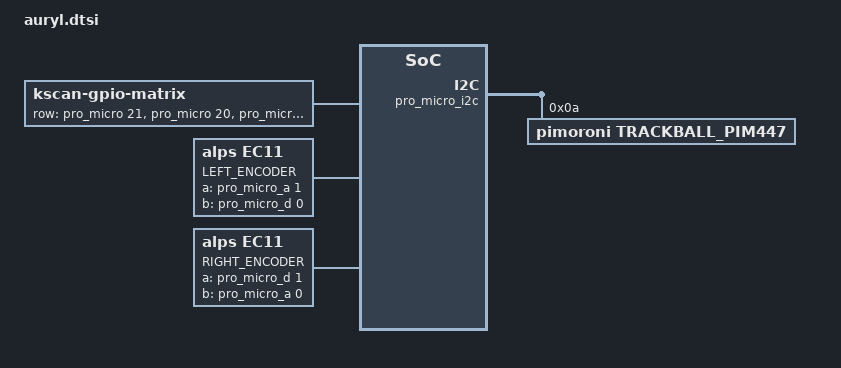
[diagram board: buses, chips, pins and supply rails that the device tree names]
#include <dt-bindings/zmk/matrix_transform.h>

/ {
    chosen {
        zmk,kscan = &kscan0;
        zmk,matrix_transform = &default_transform;
    };

    default_transform: keymap_transform_0 {
        compatible = "zmk,matrix-transform";
        columns = <1>;
        rows = <1>;
// | SW6  | SW5  | SW4  | SW3  | SW2  | SW1  |                 | SW1  | SW2  | SW3  | SW4  | SW5  | SW6  |
// | SW12 | SW11 | SW10 | SW9  | SW8  | SW7  |                 | SW7  | SW8  | SW9  | SW10 | SW11 | SW12 |
// | SW18 | SW17 | SW16 | SW15 | SW14 | SW13 |                 | SW13 | SW14 | SW15 | SW16 | SW17 | SW18 |
//               | SW22 | SW21 |                                             | SW21 | SW22 |
//                             | SW20 | SW19 | SW23 |   | SW23 | SW19 | SW20 | 
//                             | SW26 | SW25 | SW24 |    (PIM) | SW25 | SW26 |
        map = <
RC(0,0)
        >;
    };

    kscan0: kscan {
        compatible = "zmk,kscan-gpio-matrix";
        label = "KSCAN";

        diode-direction = "col2row";
        row-gpios
            = <&pro_micro 21 (GPIO_ACTIVE_HIGH | GPIO_PULL_DOWN)> // Row A from the schematic file
            , <&pro_micro 20 (GPIO_ACTIVE_HIGH | GPIO_PULL_DOWN)> // Row B from the schematic file
            , <&pro_micro 19 (GPIO_ACTIVE_HIGH | GPIO_PULL_DOWN)> // Row C from the schematic file
            , <&pro_micro 18 (GPIO_ACTIVE_HIGH | GPIO_PULL_DOWN)> // Row D from the schematic file
            ;
    };

    left_encoder: encoder_left {
      compatible = "alps,ec11";
      label = "LEFT_ENCODER";
      a-gpios = <&pro_micro_a 1 (GPIO_ACTIVE_HIGH | GPIO_PULL_UP)>;
      b-gpios = <&pro_micro_d 0 (GPIO_ACTIVE_HIGH | GPIO_PULL_UP)>;
      resolution = <4>;
    };

    right_encoder: encoder_right {
      compatible = "alps,ec11";
      label = "RIGHT_ENCODER";
      a-gpios = <&pro_micro_d 1 (GPIO_ACTIVE_HIGH | GPIO_PULL_UP)>;
      b-gpios = <&pro_micro_a 0 (GPIO_ACTIVE_HIGH | GPIO_PULL_UP)>;
      resolution = <4>;
    };

    sensors {
      compatible = "zmk,keymap-sensors";
      sensors = <&left_encoder &right_encoder>;
    };
};

&pro_micro_i2c {
    status = "okay";

    trackball_pim447@a {
        compatible = "pimoroni,trackball_pim447";
        reg = <0xa>;
        label = "TRACKBALL_PIM447";
    };
};
